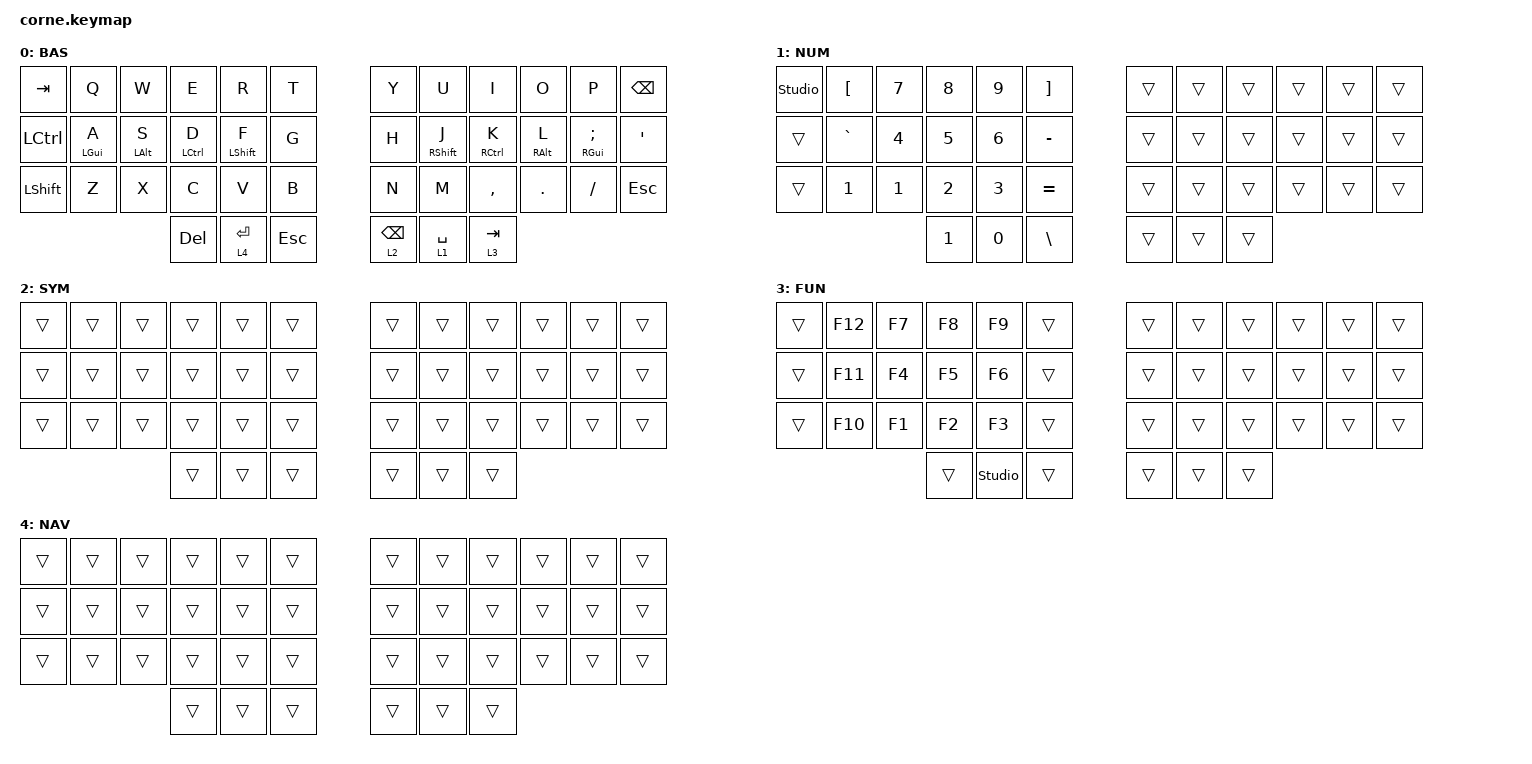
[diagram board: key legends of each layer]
/*
 * Copyright (c) 2020 The ZMK Contributors
 *
 * SPDX-License-Identifier: MIT
 */

#include <behaviors.dtsi>
#include <dt-bindings/zmk/keys.h>
#include <dt-bindings/zmk/bt.h>
#include <dt-bindings/zmk/outputs.h>
#include <dt-bindings/zmk/ext_power.h>
#include <dt-bindings/led/led.h>
#include <dt-bindings/zmk/backlight.h>
#include <dt-bindings/zmk/rgb.h>
#include <dt-bindings/zmk/reset.h>
#include <dt-bindings/zmk/behaviors.h>

/ {
        behaviors {
            hml: home_row_mod_left {
                compatible = "zmk,behavior-hold-tap";
                #binding-cells = <2>;
                flavor = "balanced";
                require-prior-idle-ms = <150>;
                tapping-term-ms = <280>;
                quick-tap-ms = <175>;
                bindings = <&kp>, <&kp>;
                hold-trigger-key-positions = <6 7 9 8 10 11 23 22 35 34 33 21 20 19 18 30 31 32 41 40 39>; // List of keys on the right side of the keyboard
                hold-trigger-on-release;
            };
            hmr: home_row_mod_right {
                compatible = "zmk,behavior-hold-tap";
                #binding-cells = <2>;
                flavor = "balanced";
                require-prior-idle-ms = <150>;
                tapping-term-ms = <280>;
                quick-tap-ms = <175>;
                bindings = <&kp>, <&kp>;
                hold-trigger-key-positions = <0 1 2 3 4 5 12 13 14 15 16 17 24 25 26 27 28 29 36 37 38>; // List of keys on the left side of the keyboard
                hold-trigger-on-release;
            };
            ltl: layer_tap_left {
                compatible = "zmk,behavior-hold-tap";
                #binding-cells = <2>;
                flavor = "balanced";
                tapping-term-ms = <200>;
                bindings = <&mo>, <&kp>;
                hold-trigger-key-positions = <6 7 9 8 10 11 23 22 35 34 33 21 20 19 18 30 31 32 41 40 39>; // List of keys on the right side of the keyboard
                hold-trigger-on-release;
            };
            ltr: layer_tap_right {
                compatible = "zmk,behavior-hold-tap";
                #binding-cells = <2>;
                flavor = "balanced";
                tapping-term-ms = <200>;
                bindings = <&mo>, <&kp>;
                hold-trigger-key-positions = <0 1 2 3 4 5 12 13 14 15 16 17 24 25 26 27 28 29 36 37 38>; // List of keys on the left side of the keyboard
                hold-trigger-on-release;
            };
        };
        keymap {
                compatible = "zmk,keymap";

                default_layer {
                        display-name = "BAS";
                        bindings = <
  &kp TAB   &kp Q       &kp W       &kp E       &kp R        &kp T      &kp Y &kp U         &kp I        &kp O         &kp P          &kp BSPC
  &kp LCTRL &hml LGUI A &hml LALT S &hml LCTL D &hml LSHFT F &kp G      &kp H &hmr RSHFT J  &hmr RCTL K  &hmr RALT L   &hmr RGUI SEMI &kp SQT
  &kp LSHFT &kp Z       &kp X       &kp C       &kp V        &kp B      &kp N &kp M         &kp COMMA    &kp DOT       &kp FSLH       &kp ESC
                        &kp DEL     &ltl 4 RET  &kp ESC                       &ltr 2 BSPC   &ltr 1 SPC   &ltr 3 TAB
                        >;
                };
                num_layer {
                        display-name = "NUM";
                        bindings = <
   &studio_unlock &kp LBKT  &kp N7 &kp N8 &kp N9   &kp RBKT    &trans &trans &trans &trans &trans &trans
   &trans         &kp GRAVE &kp N4 &kp N5 &kp N6   &kp MINUS   &trans &trans &trans &trans &trans &trans
   &trans         &kp N1    &kp N1 &kp N2 &kp N3   &kp EQUAL   &trans &trans &trans &trans &trans &trans
                            &kp N1 &kp N0 &kp BSLH                    &trans &trans &trans      
                        >;
                };
                sym_layer {
                        display-name = "SYM";
                        bindings = <
   &trans &trans &trans &trans &trans &trans   &trans &trans &trans &trans &trans &trans
   &trans &trans &trans &trans &trans &trans   &trans &trans &trans &trans &trans &trans
   &trans &trans &trans &trans &trans &trans   &trans &trans &trans &trans &trans &trans
                 &trans &trans &trans                 &trans &trans &trans      
                        >;
                };
                fn_layer {
                        display-name = "FUN";
                        bindings = <
   &trans &kp F12 &kp F7 &kp F8 &kp F9 &trans   &trans &trans &trans &trans &trans &trans
   &trans &kp F11 &kp F4 &kp F5 &kp F6 &trans   &trans &trans &trans &trans &trans &trans
   &trans &kp F10 &kp F1 &kp F2 &kp F3 &trans   &trans &trans &trans &trans &trans &trans
                  &trans &studio_unlock &trans                 &trans &trans &trans      
                        >;
                };
                nav_layer {
                        display-name = "NAV";
                        bindings = <
   &trans &trans &trans &trans &trans &trans   &trans &trans &trans &trans &trans &trans
   &trans &trans &trans &trans &trans &trans   &trans &trans &trans &trans &trans &trans
   &trans &trans &trans &trans &trans &trans   &trans &trans &trans &trans &trans &trans
                 &trans &trans &trans                 &trans &trans &trans      
                        >;
                };

        };
};
